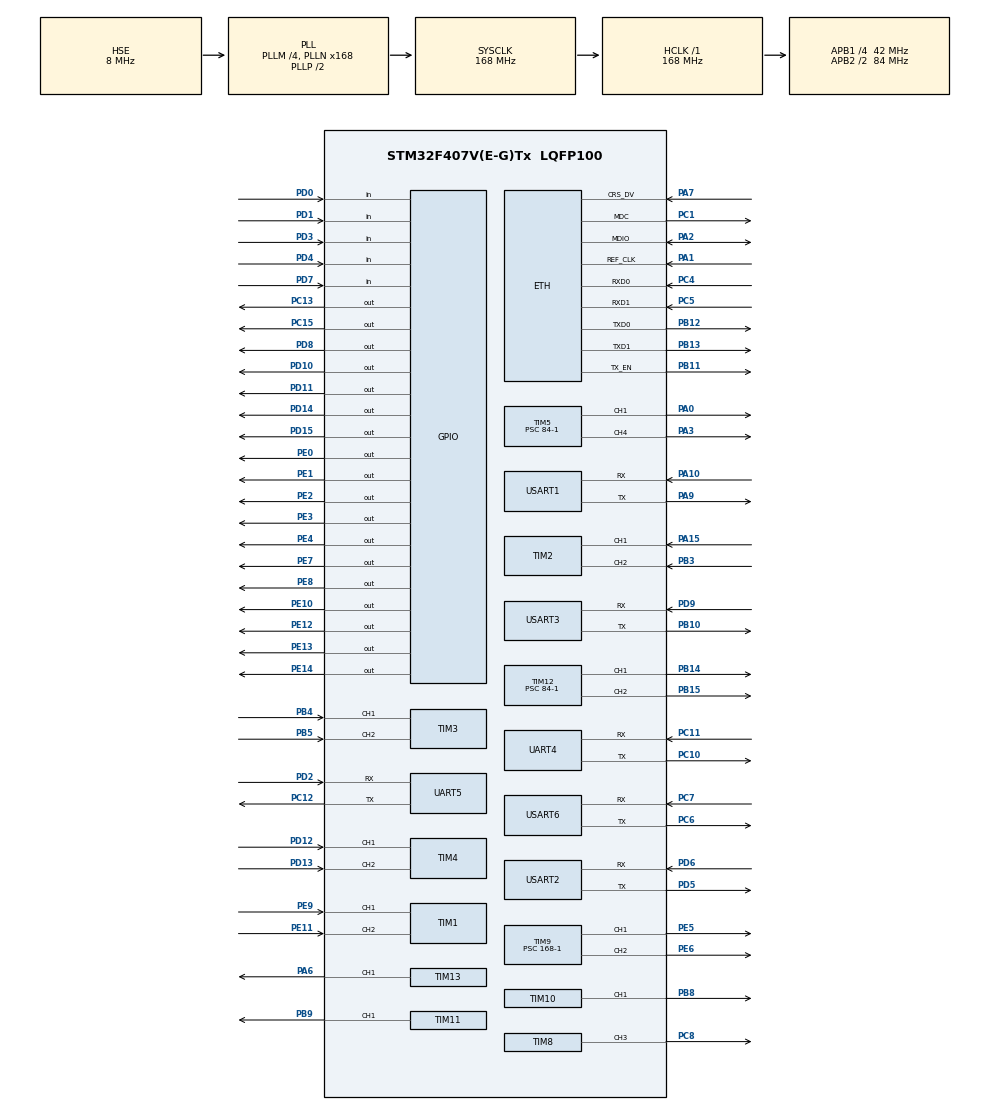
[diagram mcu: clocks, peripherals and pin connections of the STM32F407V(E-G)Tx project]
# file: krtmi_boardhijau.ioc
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Dma.Request0=UART4_RX
Dma.Request1=UART4_TX
Dma.Request10=USART1_RX
Dma.Request11=USART1_TX
Dma.Request2=UART5_RX
Dma.Request3=UART5_TX
Dma.Request4=USART2_RX
Dma.Request5=USART2_TX
Dma.Request6=USART3_RX
Dma.Request7=USART3_TX
Dma.Request8=USART6_RX
Dma.Request9=USART6_TX
Dma.UART4_RX.0.Direction=DMA_PERIPH_TO_MEMORY
Dma.UART4_RX.0.FIFOMode=DMA_FIFOMODE_DISABLE
Dma.UART4_RX.0.Instance=DMA1_Stream2
Dma.UART4_RX.0.MemDataAlignment=DMA_MDATAALIGN_BYTE
Dma.UART4_RX.0.MemInc=DMA_MINC_ENABLE
Dma.UART4_RX.0.Mode=DMA_NORMAL
Dma.UART4_RX.0.PeriphDataAlignment=DMA_PDATAALIGN_BYTE
Dma.UART4_RX.0.PeriphInc=DMA_PINC_DISABLE
Dma.UART4_RX.0.Priority=DMA_PRIORITY_LOW
Dma.UART4_TX.1.Direction=DMA_MEMORY_TO_PERIPH
Dma.UART4_TX.1.FIFOMode=DMA_FIFOMODE_DISABLE
Dma.UART4_TX.1.Instance=DMA1_Stream4
Dma.UART4_TX.1.MemDataAlignment=DMA_MDATAALIGN_BYTE
Dma.UART4_TX.1.MemInc=DMA_MINC_ENABLE
Dma.UART4_TX.1.Mode=DMA_NORMAL
Dma.UART4_TX.1.PeriphDataAlignment=DMA_PDATAALIGN_BYTE
Dma.UART4_TX.1.PeriphInc=DMA_PINC_DISABLE
Dma.UART4_TX.1.Priority=DMA_PRIORITY_LOW
Dma.UART5_RX.2.Direction=DMA_PERIPH_TO_MEMORY
Dma.UART5_RX.2.FIFOMode=DMA_FIFOMODE_DISABLE
Dma.UART5_RX.2.Instance=DMA1_Stream0
Dma.UART5_RX.2.MemDataAlignment=DMA_MDATAALIGN_BYTE
Dma.UART5_RX.2.MemInc=DMA_MINC_ENABLE
Dma.UART5_RX.2.Mode=DMA_NORMAL
Dma.UART5_RX.2.PeriphDataAlignment=DMA_PDATAALIGN_BYTE
Dma.UART5_RX.2.PeriphInc=DMA_PINC_DISABLE
Dma.UART5_RX.2.Priority=DMA_PRIORITY_HIGH
Dma.UART5_TX.3.Direction=DMA_MEMORY_TO_PERIPH
Dma.UART5_TX.3.FIFOMode=DMA_FIFOMODE_DISABLE
Dma.UART5_TX.3.Instance=DMA1_Stream7
Dma.UART5_TX.3.MemDataAlignment=DMA_MDATAALIGN_BYTE
Dma.UART5_TX.3.MemInc=DMA_MINC_ENABLE
Dma.UART5_TX.3.Mode=DMA_NORMAL
Dma.UART5_TX.3.PeriphDataAlignment=DMA_PDATAALIGN_BYTE
Dma.UART5_TX.3.PeriphInc=DMA_PINC_DISABLE
Dma.UART5_TX.3.Priority=DMA_PRIORITY_HIGH
Dma.USART1_RX.10.Direction=DMA_PERIPH_TO_MEMORY
Dma.USART1_RX.10.FIFOMode=DMA_FIFOMODE_DISABLE
Dma.USART1_RX.10.Instance=DMA2_Stream2
Dma.USART1_RX.10.MemDataAlignment=DMA_MDATAALIGN_BYTE
Dma.USART1_RX.10.MemInc=DMA_MINC_ENABLE
Dma.USART1_RX.10.Mode=DMA_NORMAL
Dma.USART1_RX.10.PeriphDataAlignment=DMA_PDATAALIGN_BYTE
Dma.USART1_RX.10.PeriphInc=DMA_PINC_DISABLE
Dma.USART1_RX.10.Priority=DMA_PRIORITY_LOW
Dma.USART1_TX.11.Direction=DMA_MEMORY_TO_PERIPH
Dma.USART1_TX.11.FIFOMode=DMA_FIFOMODE_DISABLE
Dma.USART1_TX.11.Instance=DMA2_Stream7
Dma.USART1_TX.11.MemDataAlignment=DMA_MDATAALIGN_BYTE
Dma.USART1_TX.11.MemInc=DMA_MINC_ENABLE
Dma.USART1_TX.11.Mode=DMA_NORMAL
Dma.USART1_TX.11.PeriphDataAlignment=DMA_PDATAALIGN_BYTE
Dma.USART1_TX.11.PeriphInc=DMA_PINC_DISABLE
Dma.USART1_TX.11.Priority=DMA_PRIORITY_LOW
Dma.USART2_RX.4.Direction=DMA_PERIPH_TO_MEMORY
Dma.USART2_RX.4.FIFOMode=DMA_FIFOMODE_DISABLE
Dma.USART2_RX.4.Instance=DMA1_Stream5
Dma.USART2_RX.4.MemDataAlignment=DMA_MDATAALIGN_BYTE
Dma.USART2_RX.4.MemInc=DMA_MINC_ENABLE
Dma.USART2_RX.4.Mode=DMA_NORMAL
Dma.USART2_RX.4.PeriphDataAlignment=DMA_PDATAALIGN_BYTE
Dma.USART2_RX.4.PeriphInc=DMA_PINC_DISABLE
Dma.USART2_RX.4.Priority=DMA_PRIORITY_HIGH
Dma.USART2_TX.5.Direction=DMA_MEMORY_TO_PERIPH
Dma.USART2_TX.5.FIFOMode=DMA_FIFOMODE_DISABLE
Dma.USART2_TX.5.Instance=DMA1_Stream6
Dma.USART2_TX.5.MemDataAlignment=DMA_MDATAALIGN_BYTE
Dma.USART2_TX.5.MemInc=DMA_MINC_ENABLE
Dma.USART2_TX.5.Mode=DMA_NORMAL
Dma.USART2_TX.5.PeriphDataAlignment=DMA_PDATAALIGN_BYTE
Dma.USART2_TX.5.PeriphInc=DMA_PINC_DISABLE
Dma.USART2_TX.5.Priority=DMA_PRIORITY_LOW
Dma.USART3_RX.6.Direction=DMA_PERIPH_TO_MEMORY
Dma.USART3_RX.6.FIFOMode=DMA_FIFOMODE_DISABLE
Dma.USART3_RX.6.Instance=DMA1_Stream1
Dma.USART3_RX.6.MemDataAlignment=DMA_MDATAALIGN_BYTE
Dma.USART3_RX.6.MemInc=DMA_MINC_ENABLE
Dma.USART3_RX.6.Mode=DMA_NORMAL
Dma.USART3_RX.6.PeriphDataAlignment=DMA_PDATAALIGN_BYTE
Dma.USART3_RX.6.PeriphInc=DMA_PINC_DISABLE
Dma.USART3_RX.6.Priority=DMA_PRIORITY_LOW
Dma.USART3_TX.7.Direction=DMA_MEMORY_TO_PERIPH
Dma.USART3_TX.7.FIFOMode=DMA_FIFOMODE_DISABLE
Dma.USART3_TX.7.Instance=DMA1_Stream3
Dma.USART3_TX.7.MemDataAlignment=DMA_MDATAALIGN_BYTE
Dma.USART3_TX.7.MemInc=DMA_MINC_ENABLE
Dma.USART3_TX.7.Mode=DMA_NORMAL
Dma.USART3_TX.7.PeriphDataAlignment=DMA_PDATAALIGN_BYTE
Dma.USART3_TX.7.PeriphInc=DMA_PINC_DISABLE
Dma.USART3_TX.7.Priority=DMA_PRIORITY_LOW
Dma.USART6_RX.8.Direction=DMA_PERIPH_TO_MEMORY
Dma.USART6_RX.8.FIFOMode=DMA_FIFOMODE_DISABLE
Dma.USART6_RX.8.Instance=DMA2_Stream1
Dma.USART6_RX.8.MemDataAlignment=DMA_MDATAALIGN_BYTE
Dma.USART6_RX.8.MemInc=DMA_MINC_ENABLE
Dma.USART6_RX.8.Mode=DMA_NORMAL
Dma.USART6_RX.8.PeriphDataAlignment=DMA_PDATAALIGN_BYTE
Dma.USART6_RX.8.PeriphInc=DMA_PINC_DISABLE
Dma.USART6_RX.8.Priority=DMA_PRIORITY_LOW
Dma.USART6_TX.9.Direction=DMA_MEMORY_TO_PERIPH
Dma.USART6_TX.9.FIFOMode=DMA_FIFOMODE_DISABLE
Dma.USART6_TX.9.Instance=DMA2_Stream6
Dma.USART6_TX.9.MemDataAlignment=DMA_MDATAALIGN_BYTE
Dma.USART6_TX.9.MemInc=DMA_MINC_ENABLE
Dma.USART6_TX.9.Mode=DMA_NORMAL
Dma.USART6_TX.9.PeriphDataAlignment=DMA_PDATAALIGN_BYTE
Dma.USART6_TX.9.PeriphInc=DMA_PINC_DISABLE
Dma.USART6_TX.9.Priority=DMA_PRIORITY_LOW
ETH.MACAddr=12\:34\:56\:12\:34\:56
ETH.MediaInterface=HAL_ETH_RMII_MODE
LWIP.BSP.number=1
LWIP.GATEWAY_ADDRESS=192.168.013.100
LWIP.IP_ADDRESS=192.168.013.111
LWIP.LWIP_DHCP=0
LWIP.MEM_SIZE=10*1024
LWIP.NETMASK_ADDRESS=255.255.255.000
LWIP.Version=v2.1.2_Cube
LWIP0.BSP.STBoard=false
LWIP0.BSP.api=BSP_COMPONENT_DRIVER
LWIP0.BSP.component=LAN8742
LWIP0.BSP.instance=LAN8742
LWIP0.BSP.name=Driver_PHY
LWIP0.BSP.semaphore=S_LAN8742
LWIP0.BSP.solution=LAN8742
Mcu.Family=STM32F4
Mcu.Name=STM32F407V(E-G)Tx
Mcu.Package=LQFP100
NVIC.DMA1_Stream0_IRQn=true\:0\:0\:false\:false\:true\:false\:true\:true
NVIC.DMA1_Stream1_IRQn=true\:0\:0\:false\:false\:true\:false\:true\:true
NVIC.DMA1_Stream2_IRQn=true\:0\:0\:false\:false\:true\:false\:true\:true
NVIC.DMA1_Stream3_IRQn=true\:0\:0\:false\:false\:true\:false\:true\:true
NVIC.DMA1_Stream4_IRQn=true\:0\:0\:false\:false\:true\:false\:true\:true
NVIC.DMA1_Stream5_IRQn=true\:0\:0\:false\:false\:true\:false\:true\:true
NVIC.DMA1_Stream6_IRQn=true\:0\:0\:false\:false\:true\:false\:true\:true
NVIC.DMA1_Stream7_IRQn=true\:0\:0\:false\:false\:true\:false\:true\:true
NVIC.DMA2_Stream1_IRQn=true\:0\:0\:false\:false\:true\:false\:true\:true
NVIC.DMA2_Stream2_IRQn=true\:0\:0\:false\:false\:true\:false\:true\:true
NVIC.DMA2_Stream6_IRQn=true\:0\:0\:false\:false\:true\:false\:true\:true
NVIC.DMA2_Stream7_IRQn=true\:0\:0\:false\:false\:true\:false\:true\:true
NVIC.PriorityGroup=NVIC_PRIORITYGROUP_4
NVIC.TIM6_DAC_IRQn=true\:0\:0\:false\:false\:true\:true\:true\:true
NVIC.UART4_IRQn=true\:0\:0\:false\:false\:true\:true\:true\:true
NVIC.UART5_IRQn=true\:0\:0\:false\:false\:true\:true\:true\:true
NVIC.USART1_IRQn=true\:0\:0\:false\:false\:true\:true\:true\:true
NVIC.USART2_IRQn=true\:0\:0\:false\:false\:true\:true\:true\:true
NVIC.USART3_IRQn=true\:0\:0\:false\:false\:true\:true\:true\:true
PA0-WKUP.Signal=S_TIM5_CH1
PA1.Mode=RMII
PA1.Signal=ETH_REF_CLK
PA10.Mode=Asynchronous
PA10.Signal=USART1_RX
PA13.Mode=Serial_Wire
PA13.Signal=SYS_JTMS-SWDIO
PA14.Mode=Serial_Wire
PA14.Signal=SYS_JTCK-SWCLK
PA15.Signal=S_TIM2_CH1_ETR
PA2.Mode=RMII
PA2.Signal=ETH_MDIO
PA3.Signal=S_TIM5_CH4
PA6.Signal=S_TIM13_CH1
PA7.Mode=RMII
PA7.Signal=ETH_CRS_DV
PA9.Mode=Asynchronous
PA9.Signal=USART1_TX
PB10.Mode=Asynchronous
PB10.Signal=USART3_TX
PB11.Mode=RMII
PB11.Signal=ETH_TX_EN
PB12.Mode=RMII
PB12.Signal=ETH_TXD0
PB13.Mode=RMII
PB13.Signal=ETH_TXD1
PB14.Signal=S_TIM12_CH1
PB15.Signal=S_TIM12_CH2
PB3.Signal=S_TIM2_CH2
PB4.Signal=S_TIM3_CH1
PB5.Signal=S_TIM3_CH2
PB8.Signal=S_TIM10_CH1
PB9.Signal=S_TIM11_CH1
PC1.Mode=RMII
PC1.Signal=ETH_MDC
PC10.Mode=Asynchronous
PC10.Signal=UART4_TX
PC11.Mode=Asynchronous
PC11.Signal=UART4_RX
PC12.Mode=Asynchronous
PC12.Signal=UART5_TX
PC13-ANTI_TAMP.Signal=GPIO_Output
PC15-OSC32_OUT.Signal=GPIO_Output
PC4.Mode=RMII
PC4.Signal=ETH_RXD0
PC5.Mode=RMII
PC5.Signal=ETH_RXD1
PC6.Mode=Asynchronous
PC6.Signal=USART6_TX
PC7.Mode=Asynchronous
PC7.Signal=USART6_RX
PC8.Signal=S_TIM8_CH3
PD0.GPIO_PuPd=GPIO_PULLUP
PD0.Signal=GPIO_Input
PD1.GPIO_PuPd=GPIO_PULLUP
PD1.Signal=GPIO_Input
PD10.Signal=GPIO_Output
PD11.Signal=GPIO_Output
PD12.Signal=S_TIM4_CH1
PD13.Signal=S_TIM4_CH2
PD14.Signal=GPIO_Output
PD15.Signal=GPIO_Output
PD2.Mode=Asynchronous
PD2.Signal=UART5_RX
PD3.GPIO_PuPd=GPIO_PULLUP
PD3.Signal=GPIO_Input
PD4.GPIO_PuPd=GPIO_PULLUP
PD4.Signal=GPIO_Input
PD5.Mode=Asynchronous
PD5.Signal=USART2_TX
PD6.Mode=Asynchronous
PD6.Signal=USART2_RX
PD7.GPIO_PuPd=GPIO_PULLUP
PD7.Signal=GPIO_Input
PD8.Signal=GPIO_Output
PD9.Mode=Asynchronous
PD9.Signal=USART3_RX
PE0.Signal=GPIO_Output
PE1.Signal=GPIO_Output
PE10.Signal=GPIO_Output
PE11.Signal=S_TIM1_CH2
PE12.Signal=GPIO_Output
PE13.Signal=GPIO_Output
PE14.Signal=GPIO_Output
PE2.Signal=GPIO_Output
PE3.Signal=GPIO_Output
PE4.Signal=GPIO_Output
PE5.Signal=S_TIM9_CH1
PE6.Signal=S_TIM9_CH2
PE7.Signal=GPIO_Output
PE8.Signal=GPIO_Output
PE9.Signal=S_TIM1_CH1
PH0-OSC_IN.Mode=HSE-External-Oscillator
PH0-OSC_IN.Signal=RCC_OSC_IN
PH1-OSC_OUT.Mode=HSE-External-Oscillator
PH1-OSC_OUT.Signal=RCC_OSC_OUT
ProjectManager.HeapSize=0x200
ProjectManager.StackSize=0x400
ProjectManager.TargetToolchain=STM32CubeIDE
RCC.48MHZClocksFreq_Value=84000000
RCC.AHBFreq_Value=168000000
RCC.APB1CLKDivider=RCC_HCLK_DIV4
RCC.APB1Freq_Value=42000000
RCC.APB1TimFreq_Value=84000000
RCC.APB2CLKDivider=RCC_HCLK_DIV2
RCC.APB2Freq_Value=84000000
RCC.APB2TimFreq_Value=168000000
RCC.CortexFreq_Value=168000000
RCC.HCLKFreq_Value=168000000
RCC.HSE_VALUE=8000000
RCC.HSI_VALUE=16000000
RCC.LSE_VALUE=32768
RCC.PLLM=4
RCC.PLLN=168
RCC.PLLSourceVirtual=RCC_PLLSOURCE_HSE
RCC.SYSCLKFreq_VALUE=168000000
RCC.SYSCLKSource=RCC_SYSCLKSOURCE_PLLCLK
RCC.VCOOutputFreq_Value=336000000
SH.S_TIM10_CH1.0=TIM10_CH1,PWM Generation1 CH1
SH.S_TIM11_CH1.0=TIM11_CH1,PWM Generation1 CH1
SH.S_TIM12_CH1.0=TIM12_CH1,PWM Generation1 CH1
SH.S_TIM12_CH2.0=TIM12_CH2,PWM Generation2 CH2
SH.S_TIM13_CH1.0=TIM13_CH1,PWM Generation1 CH1
SH.S_TIM1_CH1.0=TIM1_CH1,Encoder_Interface
SH.S_TIM1_CH2.0=TIM1_CH2,Encoder_Interface
SH.S_TIM2_CH1_ETR.0=TIM2_CH1,Encoder_Interface
SH.S_TIM2_CH2.0=TIM2_CH2,Encoder_Interface
SH.S_TIM3_CH1.0=TIM3_CH1,Encoder_Interface
SH.S_TIM3_CH2.0=TIM3_CH2,Encoder_Interface
SH.S_TIM4_CH1.0=TIM4_CH1,Encoder_Interface
SH.S_TIM4_CH2.0=TIM4_CH2,Encoder_Interface
SH.S_TIM5_CH1.0=TIM5_CH1,PWM Generation1 CH1
SH.S_TIM5_CH4.0=TIM5_CH4,PWM Generation4 CH4
SH.S_TIM8_CH3.0=TIM8_CH3,PWM Generation3 CH3
SH.S_TIM9_CH1.0=TIM9_CH1,PWM Generation1 CH1
SH.S_TIM9_CH2.0=TIM9_CH2,PWM Generation2 CH2
TIM10.Channel=TIM_CHANNEL_1
TIM10.Period=1000-1
TIM10.Prescaler=168-1
TIM11.Channel=TIM_CHANNEL_1
TIM11.Period=1000-1
TIM11.Prescaler=168-1
TIM12.Channel-PWM\ Generation1\ CH1=TIM_CHANNEL_1
TIM12.Channel-PWM\ Generation2\ CH2=TIM_CHANNEL_2
TIM12.Period=1000-1
TIM12.Prescaler=84-1
TIM13.Channel=TIM_CHANNEL_1
TIM13.Period=1000-1
TIM13.Prescaler=84-1
TIM5.Channel-PWM\ Generation1\ CH1=TIM_CHANNEL_1
TIM5.Channel-PWM\ Generation4\ CH4=TIM_CHANNEL_4
TIM5.Period=1000-1
TIM5.Prescaler=84-1
TIM6.Period=1000 - 1
TIM6.Prescaler=84-1
TIM8.Channel-PWM\ Generation3\ CH3=TIM_CHANNEL_3
TIM8.Period=1000-1
TIM8.Prescaler=168-1
TIM9.Channel-PWM\ Generation1\ CH1=TIM_CHANNEL_1
TIM9.Channel-PWM\ Generation2\ CH2=TIM_CHANNEL_2
TIM9.Period=1000-1
TIM9.Prescaler=168-1
UART4.VirtualMode=Asynchronous
UART5.VirtualMode=Asynchronous
USART1.VirtualMode=VM_ASYNC
USART2.VirtualMode=VM_ASYNC
USART3.VirtualMode=VM_ASYNC
USART6.VirtualMode=VM_ASYNC
VP_LWIP_VS_Enabled.Mode=Enabled
VP_TIM10_VS_ClockSourceINT.Mode=Enable_Timer
VP_TIM11_VS_ClockSourceINT.Mode=Enable_Timer
VP_TIM13_VS_ClockSourceINT.Mode=Enable_Timer
VP_TIM6_VS_ClockSourceINT.Mode=Enable_Timer
board=custom

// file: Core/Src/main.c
/* USER CODE BEGIN Header */
/**
  ******************************************************************************
  * @file           : main.c
  * @brief          : Main program body
  ******************************************************************************
  * @attention
  *
  * Copyright (c) 2024 STMicroelectronics.
  * All rights reserved.
  *
  * This software is licensed under terms that can be found in the LICENSE file
  * in the root directory of this software component.
  * If no LICENSE file comes with this software, it is provided AS-IS.
  *
  ******************************************************************************
  */
/* USER CODE END Header */
#include "main.h"
#include "dma.h"
#include "lwip.h"
#include "tim.h"
#include "usart.h"
#include "gpio.h"

/* USER CODE BEGIN Includes */
#include "udpClientRAW.h"
#include "controller.h"
#include "motor.h"
#include "pid.h"
#include "MotionProfile.h"
/* USER CODE END Includes */

void SystemClock_Config(void);

/* USER CODE BEGIN 0 */
#define MAX_ROTATION_PULSE 835
#define MAX_HORIZONTAL_PULSE 1955
#define MAX_VERTICAL_PULSE 2200
#define SEARCH_HORIZONTAL_PULSE 800

#define ENC_X_TO_CM 0.024691
#define ENC_Y_TO_CM 0.024907

#define WALL_THRESHOLD 20
#define WALL_DISTANCE_SETPOINT 10

uint8_t udp_cnt = 0;
uint8_t rst_state = 0;
int16_t rst_cnt = 0;

Motor_t motorA;
Motor_t motorB;
Motor_t motorC;

Encoder_t encA;
Encoder_t encB;
Encoder_t encC;
Encoder_t encX;
Encoder_t encY;

PID_t PID_A;
PID_t PID_B;
PID_t PID_C;
PID_t PID_x_enc;
PID_t PID_y_enc;
PID_t PID_w_mpu;
PID_t PID_x_ultra;
PID_t PID_y_cam;

PID_t PID_rot_enc;
PID_t PID_hor_enc;
PID_t PID_ver_enc;
PID_t PID_rot_cam;
PID_t PID_hor_cam;
PID_t PID_rot_box;

float kp_base = 45;
float ki_base = 2.5;
float kd_base = 0;

int16_t box_setpoint = 0;
int16_t box_feedback = 0;
int16_t vx = 0;
int16_t vy = 0;
int16_t vw = 0;
float global_x = 0;
float global_y = 0;
float yaw_degree = 0;
float yaw_flip   = 0;
float yaw_adjust = 0;
float yaw_radian = 0;
float base_pos_x = 0;
float base_pos_y = 0;
float base_pos_w = 0;
float set_x = 0;
float set_y = 0;
float set_w = 0;
uint8_t ultra_lost[3] = {0};
float ultra_avg_distance = 0;

MotionProfile x_profile;
MotionProfile y_profile;
MotionProfile w_profile;
MotionProfile rot_profile;
MotionProfile hor_profile;
MotionProfile ver_profile;

char UART1_RX_BUFFER[53]; //--- VGT ARM
char UART2_RX_BUFFER[9];
char UART3_RX_BUFFER[43];
char UART4_RX_BUFFER[53];
char UART5_RX_BUFFER[7];  //--- odom enc
char UART6_RX_BUFFER[7];  //--- NANO YAW

char UART1_TX_BUFFER[53] = "ABC";
char UART2_TX_BUFFER[9] = "ABC"; //--- RGB LED

//---- ARM
uint8_t arm_ready = 0;
uint8_t robot_start = 0;
uint8_t relay_state = 0;
int16_t set_speed_rot = 0;
int16_t set_speed_hor = 0;
int16_t set_speed_ver = 0;
int16_t set_position_rot = 0;
int16_t set_position_hor = 0;
int16_t set_position_ver = 0;
int16_t total_rot_enc = 0;
int16_t total_hor_enc = 0;
int16_t total_ver_enc = 0;
uint8_t arm_scanning_mode = 0;
uint8_t manual_arm = 0;
float 	set_rot = 0;
float 	set_hor = 0;
float 	set_ver = 0;
uint8_t cam_detected = 0;

//--- LED
typedef struct
{
	uint8_t state;
	uint8_t R, G, B;
	uint8_t brightness;
	uint8_t freq_ms;
} LED_t ;

LED_t RGB_LED;
uint8_t rgb_state = 0;

uint8_t arm_arm_state = 0;

void Robot_Init()
{
	Motor_Init(	&motorA,
				GPIOC, GPIO_PIN_15,
				GPIOC, GPIO_PIN_13,
				&htim11, TIM_CHANNEL_1, REVERSE_TRUE);

	Motor_Init(	&motorB,
				GPIOE, GPIO_PIN_3,
				GPIOE, GPIO_PIN_0,
				&htim10, TIM_CHANNEL_1, REVERSE_FALSE);

	Motor_Init(	&motorC,
				GPIOD, GPIO_PIN_10,
				GPIOD, GPIO_PIN_8,
				&htim12, TIM_CHANNEL_1, REVERSE_TRUE);

	Encoder_Init(&encA, &htim3, REVERSE_FALSE);
	Encoder_Init(&encB, &htim4, REVERSE_TRUE);
	Encoder_Init(&encC, &htim2, REVERSE_FALSE);

	PID_Init(&PID_rot_enc,  0.1, 0, 0,  3,  3, 25);
	PID_Init(&PID_hor_enc,  0.1, 0, 0, 10, 10, 25);
	PID_Init(&PID_ver_enc,  0.1, 0, 0, 60, 60, 50);
	PID_Init(&PID_rot_cam, 0.04, 0, 0,  1,  1, 25);
	PID_Init(&PID_hor_cam, 0.05, 0, 0,  5,  5, 25);
	PID_Init(&PID_rot_box, 0.02, 0, 0,  1,  1, 50);

    PID_Init(&PID_A, kp_base, ki_base, kd_base, 999, 999, 0);
    PID_Init(&PID_B, kp_base, ki_base, kd_base, 999, 999, 0);
    PID_Init(&PID_C, kp_base, ki_base, kd_base, 999, 999, 0);
    PID_Init(&PID_x_enc, 0.17, 0, 0, 20, 20, 5);
    PID_Init(&PID_y_enc, 0.17, 0, 0, 20, 20, 5);
    PID_Init(&PID_w_mpu, 0.45, 0, 8, 5, 5, 1);
    PID_Init(&PID_x_ultra, 0.5, 0, 0, 5, 5, 5);
    PID_Init(&PID_y_cam, 0.1, 0, 0, 5, 5, 1);

    MotionProfile_init(&x_profile, 65.0f, 50.0f, 50.0f, 5.0f);
    MotionProfile_init(&y_profile, 65.0f, 50.0f, 50.0f, 5.0f);
    MotionProfile_init(&w_profile, 40.0f, 5.0f, 5.0f, 5.0f);

    MotionProfile_init(&w_profile, 100.0f, 85.0f, 85.0f, 1.0f);
    MotionProfile_init(&rot_profile, 1000, 900, 900, 5);
    MotionProfile_init(&hor_profile, 3500, 3400, 3400, 5);
    MotionProfile_init(&ver_profile, 3500, 3400, 3400, 5);

    HAL_UART_Receive_DMA(&huart1, (uint8_t*)UART1_RX_BUFFER, sizeof(UART1_RX_BUFFER));
//    HAL_UART_Receive_DMA(&huart2, (uint8_t*)UART2_RX_BUFFER, sizeof(UART2_RX_BUFFER));
    HAL_UART_Receive_DMA(&huart3, (uint8_t*)UART3_RX_BUFFER, sizeof(UART3_RX_BUFFER));
    HAL_UART_Receive_DMA(&huart4, (uint8_t*)UART4_RX_BUFFER, sizeof(UART4_RX_BUFFER));
    HAL_UART_Receive_DMA(&huart5, (uint8_t*)UART5_RX_BUFFER, sizeof(UART5_RX_BUFFER));
    HAL_UART_Receive_DMA(&huart6, (uint8_t*)UART6_RX_BUFFER, sizeof(UART6_RX_BUFFER));

	udpClient_connect();

	HAL_TIM_Base_Start_IT(&htim6);
}

void Set_LED(LED_t *led, uint8_t state, uint8_t R, uint8_t G, uint8_t B, uint8_t brightness, uint8_t freq_ms)
{
	led -> state = state;
	led -> R = R;
	led -> G = G;
	led -> B = B;
	led -> brightness = brightness;
	led -> freq_ms = freq_ms;
}

void RGB_LED_Stop()
{
	static uint8_t state = 0;
	static uint16_t cnt_ms = 0;

	switch(state)
	{
		case 0:
			Set_LED(&RGB_LED, 1, 255, 0, 0, 10, 1);
			state++;
			break;
		case 1:
			if(cnt_ms >= 100)
			{
				state++;
				cnt_ms = 0;
			}
			else
			{
				cnt_ms++;
			}
			break;
		case 2:
			Set_LED(&RGB_LED, 1, 255, 0, 0, 0, 1);
			state++;
			break;
		case 3:
			if(cnt_ms >= 100)
			{
				state++;
				cnt_ms = 0;
			}
			else
			{
				cnt_ms++;
			}
			break;
		case 4:
			Set_LED(&RGB_LED, 1, 255, 0, 0, 10, 1);
			state++;
			break;
		case 5:
			if(cnt_ms >= 100)
			{
				state++;
				cnt_ms = 0;
			}
			else
			{
				cnt_ms++;
			}
			break;
		case 6:
			Set_LED(&RGB_LED, 1, 255, 0, 0, 0, 1);
			state++;
			break;
		case 7:
			if(cnt_ms >= 100)
			{
				state++;
				cnt_ms = 0;
			}
			else
			{
				cnt_ms++;
			}
			break;
		case 8:
			Set_LED(&RGB_LED, 1, 255, 0, 0, 10, 1);
			state++;
			break;
		case 9:
			if(cnt_ms >= 4000)
			{
				state = 0;
				cnt_ms = 0;
			}
			else
			{
				cnt_ms++;
			}
			break;
	}
}

void RGB_LED_Process(uint8_t state)
{
	switch(state)
	{
		case 0: // --- stop
			RGB_LED_Stop();
			break;
		case 1: //--- go
			Set_LED(&RGB_LED, 1, 0, 255, 0, 10, 1);
			break;
		case 2: //--- search
			Set_LED(&RGB_LED, 2, 0, 0, 0, 10, 1);
			break;
		case 3: //--- Daun
			Set_LED(&RGB_LED, 1, 199, 252, 0, 10, 1);
			break;
		case 4: //--- Ferro
			Set_LED(&RGB_LED, 1, 254, 0, 86, 10, 1);
			break;
		case 5: //--- Kertas
			Set_LED(&RGB_LED, 1, 0, 255, 206, 10, 1);
			break;
		case 6: //--- Non-Ferro
			Set_LED(&RGB_LED, 1, 255, 128, 0, 10, 1);
			break;
		case 7: //--- Plastik
			Set_LED(&RGB_LED, 1, 134, 34, 255, 10, 1);
			break;
		case 8: //--- Manual
			Set_LED(&RGB_LED, 1, 0, 0, 255, 10, 1);
			break;
	}

	memcpy(UART2_TX_BUFFER + 3, &RGB_LED, sizeof(RGB_LED));

	HAL_UART_Transmit_DMA(&huart2, (uint8_t*)UART2_TX_BUFFER, sizeof(UART2_TX_BUFFER));
}

float flip_yaw(float original_yaw)
{
   return 360.0f - fmodf(original_yaw, 360.0f);
}

void Yaw_Process()
{
	static uint8_t offset_once = 0;

	yaw_flip = flip_yaw(udp_tx.yaw_degree);

	if(yaw_flip > 180.001)
	{
		yaw_flip -= 360.001;
	}
	else if(yaw_flip < -180.001)
	{
        yaw_flip += 360.001;
	}

	if(!offset_once)
	{
		yaw_adjust = yaw_flip;
		offset_once++;
	}

	yaw_degree = yaw_flip - yaw_adjust;

	yaw_radian = yaw_degree * M_PI/180.0;
}

void Odometry_Process()
{
	static uint8_t odom_cnt_ms = 0;

	if(odom_cnt_ms >= 9)
	{

		global_x += (udp_tx.enc_x * cos(yaw_radian) - udp_tx.enc_y * sin(yaw_radian)) * ENC_X_TO_CM;
		global_y += (udp_tx.enc_x * sin(yaw_radian) + udp_tx.enc_y * cos(yaw_radian)) * ENC_Y_TO_CM;
		odom_cnt_ms = 0;
	}
	else
	{
		odom_cnt_ms++;
	}
}

void Main_Arm_Algorithm()
{
	if(!robot_start)
	{
		return;
	}

	static uint8_t arm_state = 0;
	static int16_t arm_cnt_ms = 0;
	static uint8_t trash_type = 0;

	arm_arm_state = arm_state;

	switch(arm_state)
	{
		case 0: //--- Arm up

			rgb_state = 1;
			manual_arm = 0;
			arm_scanning_mode = 0; //-- enc mode
			relay_state = 0;

			MotionProfile_set_target(&ver_profile, MAX_VERTICAL_PULSE);
			MotionProfile_update(&ver_profile, 0.001);
			set_ver = MotionProfile_get_position(&ver_profile);
			set_position_ver = (int16_t)set_ver;
			if(MotionProfile_finished(&ver_profile))
			{
				arm_state = 11;
			}

//			set_position_ver = MAX_VERTICAL_PULSE - 100;
//			arm_state = 111;
			break;

//		case 111:
//            if(arm_cnt_ms >= 2400)
//            {
//            	arm_state = 11;
//                arm_cnt_ms = 0;
//            }
//            else
//            {
//                arm_cnt_ms++;
//            }
//            break;

		case 1: //--- Arm hold rotate (at 0 position)

			rgb_state = 1;
			MotionProfile_set_target(&rot_profile, 0);
			MotionProfile_update(&rot_profile, 0.001);
			set_rot = MotionProfile_get_position(&rot_profile);
			set_position_rot = (int16_t)set_rot;
			if(MotionProfile_finished(&rot_profile))
			{
				arm_state++;
			}
			break;

		case 2: //--- Arm search position

			rgb_state = 1;
			MotionProfile_set_target(&hor_profile, SEARCH_HORIZONTAL_PULSE);
			MotionProfile_update(&hor_profile, 0.001);
			set_hor = MotionProfile_get_position(&hor_profile);
			set_position_hor = (int16_t)set_hor;
			if(MotionProfile_finished(&hor_profile))
			{
				arm_state++;
			}
			break;

		case 3: //--- wait for input (auto or manual)

			if(udp_tx.option) //--- manual mode
			{
				manual_arm = 1;
				arm_state = 99;
			}

//			if(udp_tx.down) //--- auto mode
//			if(udp_tx.buttons[1] == 0)
			if(udp_rx.trashDetected && abs(udp_rx.closestTrashX) <= 200 && !(ultra_lost[0] || ultra_lost[1] || ultra_lost[2]))
			{
				PID_Reset(&PID_rot_enc);
				PID_Reset(&PID_hor_enc);
				arm_scanning_mode = 1; //--- cam mode
				arm_state++;
				cam_detected = 1;
			}
			break;

		case 4: //--- Search Trash Auto
			rgb_state = 2;

			if(udp_tx.up)
			{
				PID_Reset(&PID_rot_cam);
				PID_Reset(&PID_hor_cam);
				arm_state = 0;
			}

			if(udp_rx.trashDetected)
			{
				cam_detected = 1;
				set_position_rot = 35;
				set_position_hor = 30;

                if(abs(PID_rot_cam.error) <= PID_rot_cam.tolerance && abs(PID_hor_cam.error) <= PID_hor_cam.tolerance)
                {
                    if(arm_cnt_ms >= 249)
                    {
                    	trash_type = udp_rx.trashType;
        				PID_Reset(&PID_rot_cam);
        				PID_Reset(&PID_hor_cam);
                        arm_scanning_mode = 0; //--- enc mode
                        arm_state++;
                        arm_cnt_ms = 0;
                    }
                    else
                    {
                        arm_cnt_ms++;
                    }
                }

			}
			else //--- stops arm movement if trash not detected
			{
				set_position_rot = PID_rot_cam.feedback;
				set_position_hor = PID_hor_cam.feedback;
				cam_detected = 0;
			}
			break;

		case 5: //--- go down while keeping rotation and horizontal position
			rgb_state = trash_type + 2; //--- offset of 2
			cam_detected = 1; //--- make sure to stop

			if(udp_tx.up)
			{
				PID_Reset(&PID_rot_cam);
				PID_Reset(&PID_hor_cam);
				arm_state = 0;
			}
			set_position_rot = PID_rot_enc.feedback;
			set_position_hor = PID_hor_enc.feedback;

			if(PID_ver_enc.feedback < 250)
			{
				relay_state = 1;
			}

			MotionProfile_set_target(&ver_profile, 0);
			MotionProfile_update(&ver_profile, 0.001);
			set_ver = MotionProfile_get_position(&ver_profile);
			set_position_ver = (int16_t)set_ver;

			if(MotionProfile_finished(&ver_profile))
			{
				arm_state++;
			}
			break;

		case 6: //--- go up, pick up trash

			rgb_state = trash_type + 2; //--- offset of 2

			MotionProfile_set_target(&ver_profile, MAX_VERTICAL_PULSE);
			MotionProfile_update(&ver_profile, 0.001);
			set_ver = MotionProfile_get_position(&ver_profile);
			set_position_ver = (int16_t)set_ver;
			if(MotionProfile_finished(&ver_profile))
			{
				arm_state++;
			}
			break;

		case 7: //--- extend MAX forward, ready for trash bin

			rgb_state = trash_type + 2; //--- offset of 2

			MotionProfile_set_target(&rot_profile, 0);
			MotionProfile_update(&rot_profile, 0.001);
			set_rot = MotionProfile_get_position(&rot_profile);
			set_position_rot = (int16_t)set_rot;

			if(MotionProfile_finished(&rot_profile))
			{
				arm_state++;
			}
			break;

		case 8:
			cam_detected = 0; //--- move again

			rgb_state = trash_type + 2; //--- offset of 2

			MotionProfile_set_target(&hor_profile, MAX_HORIZONTAL_PULSE);
			MotionProfile_update(&hor_profile, 0.001);
			set_hor = MotionProfile_get_position(&hor_profile);
			set_position_hor = (int16_t)set_hor;

			if(MotionProfile_finished(&hor_profile))
			{
				arm_state++;
			}
			break;

		case 9: //--- wait for input to go down, or go back to beginning state

			rgb_state = trash_type + 2; //--- offset of 2

//			if(udp_tx.down)
//			if(udp_tx.buttons[1] == 0)
			if(udp_rx.boxDetected && abs(udp_rx.cameraX - udp_rx.closestBoxX) <= 55)
			{
				cam_detected = 1;
				arm_scanning_mode = 2; //--- box mode
				PID_Reset(&PID_rot_enc);
				arm_state++;
			}

			if(udp_tx.up)
			{
				arm_state = 0;
			}
			break;

		case 10:
			rgb_state = trash_type + 2; //--- offset of 2

			if(udp_rx.boxDetected)
			{
				cam_detected = 1;
				set_position_rot = 45;

	            if(abs(PID_rot_box.error) <= PID_rot_box.tolerance)
	            {
	                if(arm_cnt_ms >= 249)
	                {
	    				PID_Reset(&PID_rot_box);
	                    arm_scanning_mode = 0;
	                    arm_state++;
	                    arm_cnt_ms = 0;
	                }
	                else
	                {
	                    arm_cnt_ms++;
	                }
	            }
			}
			else
			{
				cam_detected = 0;
				set_position_rot = PID_rot_box.feedback;
			}

			break;

		case 11: //--- go down and let go of trash

			set_position_rot = PID_rot_enc.feedback;

			rgb_state = trash_type + 2; //--- offset of 2

			relay_state = 0;

			MotionProfile_set_target(&ver_profile, 0);
			MotionProfile_update(&ver_profile, 0.001);
			set_ver = MotionProfile_get_position(&ver_profile);
			set_position_ver = (int16_t)set_ver;

			if(MotionProfile_finished(&ver_profile))
			{
                if(arm_cnt_ms >= 249) //2499
                {
                	cam_detected = 0;
                    arm_state = 0;
                    arm_cnt_ms = 0;
                }
                else
                {
                    arm_cnt_ms++;
                }
			}

//			set_position_ver = 200;
//			if(arm_cnt_ms >= 2499) //2499
//			{
////				cam_detected = 0;
//				arm_state = 0;
//				arm_cnt_ms = 0;
//			}
//			else
//			{
//				arm_cnt_ms++;
//			}

			break;

		case 21: //--- ignore this, this is just a test, nigga
			MotionProfile_set_target(&ver_profile, 0);
			MotionProfile_update(&ver_profile, 0.001);
			set_ver = MotionProfile_get_position(&ver_profile);
			set_position_ver = (int16_t)set_ver;
			if(MotionProfile_finished(&ver_profile))
			{
				arm_state = 0;
			}
			break;

		case 99: //--- MANUAL MODE, MOTHERFUCKER
		{
			rgb_state = 8;

            static float rot_scaled = 0;
            static float hor_scaled = 0;
            static uint8_t grab_state = 0;
            static uint8_t SUCK_state = 0;
            static uint8_t SUCK_TIME = 0;

            //---- control the GAWK GAWK 3000 SUCK PUMP
            switch (SUCK_state)
			{
				case 0:
					if(udp_tx.r1)
					{
						SUCK_state++;
					}
					break;
				case 1:
					relay_state = 1;

					if(SUCK_TIME >= 250)
					{
						SUCK_state++;
						SUCK_TIME = 0;
					}
					else
					{
						SUCK_TIME++;
					}
					break;
				case 2:
					if(udp_tx.r1)
					{
						SUCK_state++;
					}
					break;
				case 3:
					relay_state = 0;
					if(SUCK_TIME >= 250)
					{
						SUCK_state = 0;
						SUCK_TIME = 0;
					}
					else
					{
						SUCK_TIME++;
					}
					break;
			}

            //--- Control the forward and rotation movement of arm
            if(udp_tx.left && rot_scaled < 300)
            {
                rot_scaled += 0.2;
            }
            else if(udp_tx.right && rot_scaled > -300)
            {
                rot_scaled -= 0.2;
            }

            if(udp_tx.up && hor_scaled < MAX_HORIZONTAL_PULSE)
            {
                hor_scaled += 1;
            }
            else if(udp_tx.down && hor_scaled > 10)
            {
                hor_scaled -= 1;
            }

            set_position_rot = rot_scaled;
            set_position_hor = hor_scaled;

            //-- Control UP and DOWN movement of your MUM
            switch(grab_state)
            {
				case 0:
					if(udp_tx.l1)
					{
						grab_state++;
					}
					break;

				case 1:
					MotionProfile_set_target(&ver_profile, 0);
					MotionProfile_update(&ver_profile, 0.001);
					set_ver = MotionProfile_get_position(&ver_profile);
					set_position_ver = (int16_t)set_ver;

					if(MotionProfile_finished(&ver_profile))
					{
		                if(arm_cnt_ms >= 249)
		                {
		                    grab_state++;
		                    arm_cnt_ms = 0;
		                }
		                else
		                {
		                    arm_cnt_ms++;
		                }
					}
					break;

				case 2:
					if(udp_tx.l1)
					{
						grab_state++;
					}
					break;

				case 3:
					MotionProfile_set_target(&ver_profile, MAX_VERTICAL_PULSE);
					MotionProfile_update(&ver_profile, 0.001);
					set_ver = MotionProfile_get_position(&ver_profile);
					set_position_ver = (int16_t)set_ver;

					if(MotionProfile_finished(&ver_profile))
					{
		                if(arm_cnt_ms >= 249)
		                {
		                    grab_state = 0;
		                    arm_cnt_ms = 0;
		                }
		                else
		                {
		                    arm_cnt_ms++;
		                }
					}
					break;
            }

            //--- GO BACK TO AUTO MODE
            if(udp_tx.share)
            {
                manual_arm = 0;
                rot_scaled = 0;
                hor_scaled = 0;
                grab_state = 0;
                SUCK_state = 0;

                PID_Reset(&PID_ver_enc);
                PID_Reset(&PID_rot_enc);
                PID_Reset(&PID_hor_enc);

                arm_state = 0;
            }

			break;
		}

	}

}

float get_weighted_distance()
{
    float weighted_sum = 0;
    float total_weight = 0;

    if(!ultra_lost[0]) // RIGHT
    {
        weighted_sum += udp_tx.ultrasonic[0] * 1.0f;
        total_weight += 1.0f;
    }

    if(!ultra_lost[1]) // CENTER
    {
        weighted_sum += udp_tx.ultrasonic[1] * 2.0f;
        total_weight += 2.0f;
    }

    if(!ultra_lost[2]) // LEFT
    {
        weighted_sum += udp_tx.ultrasonic[2] * 1.0f;
        total_weight += 1.0f;
    }

    if(total_weight > 0)
    {
        return weighted_sum / total_weight;
    }

    return WALL_DISTANCE_SETPOINT; // Fallback
}

void Main_Base_Algorithm()
{
	if(!robot_start)
	{
		yaw_adjust = yaw_flip;
		global_x = 0;
		global_y = 0;
		ultra_avg_distance = 0;
		Encoder_ResetCount(&encA);
		Encoder_ResetCount(&encB);
		Encoder_ResetCount(&encC);
		box_feedback = 0;
		return;
	}

	vx = vy = vw = 0;

//	static uint8_t base_state = 0;
//	static uint16_t base_cnt_ms = 0;
//
//	vy = -Controller_Drift(udp_tx.lX, 12);
//	vx = Controller_Drift(udp_tx.lY, 12);
//	int16_t rx = -Controller_Drift(udp_tx.rX, 12);
//
//	vx = map(vx, -128, 127, -10, 10);
//	vy = map(vy, -128, 127, -10, 10);
//	rx = map(rx, -128, 127, -3, 3);
//
//	vw = rx;

//	set_w += (float) rx * 0.3; //--- ini scale nya
//
//    set_w = fmodf(set_w, 360.0f);
//    if (set_w > 180.0f)
//    {
//    	set_w -= 360.0f;
//    }
//    else if (set_w < -180.0f)
//    {
//    	set_w += 360.0f;
//    }

//---- AUTO

//	ultra_lost[0] = ( udp_tx.ultrasonic[0] > WALL_THRESHOLD ); //-- RIGHT
//	ultra_lost[1] = ( udp_tx.ultrasonic[1] > WALL_THRESHOLD ); //-- CENTER
//	ultra_lost[2] = ( udp_tx.ultrasonic[2] > WALL_THRESHOLD ); //-- LEFT
//	ultra_avg_distance = get_weighted_distance();
//
//	if(cam_detected)
//	{
//		set_x = WALL_DISTANCE_SETPOINT;
//		set_y = 0;
//		set_w = 0;
//
//		vy = 0; //--- STOP
//
////		if(base_state == 0)
////		{
////			base_state = 1;
////		}
////		else
////		{
////			base_state = 0;
////		}
//	}
//
//	else
//	{
//		switch(base_state)
//		{
//			case 0:
//				set_x = WALL_DISTANCE_SETPOINT;
//				set_y = 0;
//				set_w = 0;
//
//				vy = -4; //--- go right
//
//				if(ultra_lost[0])
//				{
//					base_state++;
//				}
//				break;
//
//			case 1:
//				set_x = WALL_DISTANCE_SETPOINT;
//				set_y = 0;
//				set_w = 3;
//
//				vy = 4; //--- go left
//
//				if(ultra_lost[2])
//				{
//					base_state = 0;
//				}
//				break;
//		}
//	}

//	MotionProfile_set_target(&w_profile, set_w);
//	MotionProfile_update(&w_profile, 0.001);
//	base_pos_w = MotionProfile_get_position(&w_profile);
//
//	MotionProfile_set_target(&y_profile, set_y);
//	MotionProfile_update(&y_profile, 0.001);
//	base_pos_y = MotionProfile_get_position(&y_profile);
//
//	MotionProfile_set_target(&x_profile, set_x);
//	MotionProfile_update(&x_profile, 0.001);
//	base_pos_x = MotionProfile_get_position(&x_profile);
}

void PID_Arm_Position()
{
	static uint16_t timer = 0;

	if(timer >= 9)
	{
		total_rot_enc += udp_tx.enc_1;
        total_hor_enc += udp_tx.enc_2;
        total_ver_enc += udp_tx.enc_3;

        switch(arm_scanning_mode)
        {
			case 0: //--- enc mode full

				PID_Update(&PID_rot_enc, set_position_rot, total_rot_enc);

				set_speed_rot = (int16_t)PID_rot_enc.output;

				if(abs(PID_rot_enc.error) < PID_rot_enc.tolerance)
				{
					set_speed_rot = 0;
				}
		        if(total_rot_enc < -300 && PID_rot_enc.output <= 0)
		        {
		        	set_speed_rot = 0;
		        }
		        if(total_rot_enc > 300 && PID_rot_enc.output >= 0)
		        {
		        	set_speed_rot = 0;
		        }

				PID_Update(&PID_hor_enc, set_position_hor, total_hor_enc);

				set_speed_hor = (int16_t)PID_hor_enc.output;

				if(abs(PID_hor_enc.error) < PID_hor_enc.tolerance)
				{
					set_speed_hor = 0;
				}
		        if(total_hor_enc < 10 && PID_hor_enc.output <= 0)
		        {
		        	set_speed_hor = 0;
		        }
		        if(total_hor_enc > MAX_HORIZONTAL_PULSE && PID_hor_enc.output >= 0)
		        {
		        	set_speed_hor = 0;
		        }
				break;

			case 1: //--- cam mode full

				PID_Update(&PID_rot_cam, set_position_rot, udp_rx.closestTrashX);

				set_speed_rot = (int16_t)PID_rot_cam.output;

				if(abs(PID_rot_cam.error) < PID_rot_cam.tolerance)
				{
					set_speed_rot = 0;
				}
		        if(total_rot_enc < -300 && PID_rot_cam.output <= 0)
		        {
		        	set_speed_rot = 0;
		        }
		        if(total_rot_enc > 300 && PID_rot_cam.output >= 0)
		        {
		        	set_speed_rot = 0;
		        }

				PID_Update(&PID_hor_cam, set_position_hor, udp_rx.closestTrashY);

				set_speed_hor = (int16_t)PID_hor_cam.output;

				if(abs(PID_hor_cam.error) < PID_hor_cam.tolerance)
				{
					set_speed_hor = 0;
				}
		        if(total_hor_enc < 200 && PID_hor_cam.output <= 0)
		        {
		        	set_speed_hor = 0;
		        }
		        if(total_hor_enc > 1400 && PID_hor_cam.output >= 0)
		        {
		        	set_speed_hor = 0;
		        }
				break;

			case 2: //--- box mode

				PID_Update(&PID_rot_box, set_position_rot, (udp_rx.cameraX - udp_rx.closestBoxX));

				set_speed_rot = (int16_t)PID_rot_box.output;

				if(abs(PID_rot_box.error) < PID_rot_box.tolerance)
				{
					set_speed_rot = 0;
				}
		        if(total_rot_enc < -300 && PID_rot_box.output <= 0)
		        {
		        	set_speed_rot = 0;
		        }
		        if(total_rot_enc > 300 && PID_rot_box.output >= 0)
		        {
		        	set_speed_rot = 0;
		        }

				PID_Update(&PID_hor_enc, set_position_hor, total_hor_enc);

				set_speed_hor = (int16_t)PID_hor_enc.output;

				if(abs(PID_hor_enc.error) < PID_hor_enc.tolerance)
				{
					set_speed_hor = 0;
				}
		        if(total_hor_enc < 10 && PID_hor_enc.output <= 0)
		        {
		        	set_speed_hor = 0;
		        }
		        if(total_hor_enc > MAX_HORIZONTAL_PULSE && PID_hor_enc.output >= 0)
		        {
		        	set_speed_hor = 0;
		        }
				break;
        }

//		if(arm_scanning_mode)
//		{
//			PID_Update(&PID_rot_cam, set_position_rot, udp_rx.closestTrashX);
//
//			set_speed_rot = (int16_t)PID_rot_cam.output;
//
//			if(abs(PID_rot_cam.error) < PID_rot_cam.tolerance)
//			{
//				set_speed_rot = 0;
//			}
//	        if(total_rot_enc < -300 && PID_rot_cam.output <= 0)
//	        {
//	        	set_speed_rot = 0;
//	        }
//	        if(total_rot_enc > 300 && PID_rot_cam.output >= 0)
//	        {
//	        	set_speed_rot = 0;
//	        }
//
//
//			PID_Update(&PID_hor_cam, set_position_hor, udp_rx.closestTrashY);
//
//			set_speed_hor = (int16_t)PID_hor_cam.output;
//
//			if(abs(PID_hor_cam.error) < PID_hor_cam.tolerance)
//			{
//				set_speed_hor = 0;
//			}
//	        if(total_hor_enc < 200 && PID_hor_cam.output <= 0)
//	        {
//	        	set_speed_hor = 0;
//	        }
//	        if(total_hor_enc > 1400 && PID_hor_cam.output >= 0)
//	        {
//	        	set_speed_hor = 0;
//	        }
//		}
//		else
//		{
//			PID_Update(&PID_rot_enc, set_position_rot, total_rot_enc);
//
//			set_speed_rot = (int16_t)PID_rot_enc.output;
//
//			if(abs(PID_rot_enc.error) < PID_rot_enc.tolerance)
//			{
//				set_speed_rot = 0;
//			}
//	        if(total_rot_enc < -300 && PID_rot_enc.output <= 0)
//	        {
//	        	set_speed_rot = 0;
//	        }
//	        if(total_rot_enc > 300 && PID_rot_enc.output >= 0)
//	        {
//	        	set_speed_rot = 0;
//	        }
//
//
//			PID_Update(&PID_hor_enc, set_position_hor, total_hor_enc);
//
//			set_speed_hor = (int16_t)PID_hor_enc.output;
//
//			if(abs(PID_hor_enc.error) < PID_hor_enc.tolerance)
//			{
//				set_speed_hor = 0;
//			}
//	        if(total_hor_enc < 10 && PID_hor_enc.output <= 0)
//	        {
//	        	set_speed_hor = 0;
//	        }
//	        if(total_hor_enc > MAX_HORIZONTAL_PULSE && PID_hor_enc.output >= 0)
//	        {
//	        	set_speed_hor = 0;
//	        }
//		}
//
//
//		if(arm_box_mode)
//		{
//			PID_Update(&PID_rot_box, set_position_rot, (udp_rx.cameraX - udp_rx.closestBoxX));
//
//			set_speed_rot = (int16_t)PID_rot_box.output;
//
//			if(abs(PID_rot_box.error) < PID_rot_box.tolerance)
//			{
//				set_speed_rot = 0;
//			}
//	        if(total_rot_enc < -300 && PID_rot_box.output <= 0)
//	        {
//	        	set_speed_rot = 0;
//	        }
//	        if(total_rot_enc > 300 && PID_rot_box.output >= 0)
//	        {
//	        	set_speed_rot = 0;
//	        }
//
//
//			PID_Update(&PID_hor_enc, set_position_hor, total_hor_enc);
//
//			set_speed_hor = (int16_t)PID_hor_enc.output;
//
//			if(abs(PID_hor_enc.error) < PID_hor_enc.tolerance)
//			{
//				set_speed_hor = 0;
//			}
//	        if(total_hor_enc < 10 && PID_hor_enc.output <= 0)
//	        {
//	        	set_speed_hor = 0;
//	        }
//	        if(total_hor_enc > MAX_HORIZONTAL_PULSE && PID_hor_enc.output >= 0)
//	        {
//	        	set_speed_hor = 0;
//	        }
//		}

		PID_Update(&PID_ver_enc, set_position_ver, total_ver_enc);

		set_speed_ver = (int16_t)PID_ver_enc.output;

		if(abs(PID_ver_enc.error) < PID_ver_enc.tolerance)
		{
			set_speed_ver = 0;
		}

		timer = 0;
	}
	else
	{
		timer++;
	}
}

void PID_Base_Position()
{
	static uint16_t timer = 0;

	if(timer >= 9)
	{

//		PID_Update(&PID_x_enc, base_pos_x, global_x);
//		vx = (int16_t)PID_x_enc.output;

//		PID_Update(&PID_y_enc, base_pos_y, global_y);
//		vy = (int16_t)PID_y_enc.output;

		//--- auto
//		PID_Update(&PID_x_ultra, set_x, ultra_avg_distance);
//		vx = -(int16_t)PID_x_ultra.output;
//		PID_Update_Rotate(&PID_w_mpu, set_w, yaw_degree);
//		vw = (int16_t)PID_w_mpu.output;

//		PID_Update(&PID_y_cam, box_setpoint, box_feedback);
//		vy = (int16_t)PID_y_cam.output;

		timer = 0;
	}
	else
	{
		timer++;
	}
}

void PID_Base_Speed()
{
	static uint16_t timer = 0;

	if(timer >= 9)
	{
		int16_t va = Kinematics_Triangle(MOTOR_A, vx, vy, vw);
		int16_t vb = Kinematics_Triangle(MOTOR_B, vx, vy, vw);
		int16_t vc = Kinematics_Triangle(MOTOR_C, vx, vy, vw);

		Encoder_GetCount(&encA);
		Encoder_GetCount(&encB);
		Encoder_GetCount(&encC);

		/* Save UDP */
		udp_tx.enc_a = encA.count;
		udp_tx.enc_b = encB.count;
		udp_tx.enc_c = encC.count;

		Encoder_ResetCount(&encA);
		Encoder_ResetCount(&encB);
		Encoder_ResetCount(&encC);

		PID_Update(&PID_A, va, (float)encA.count);
		PID_Update(&PID_B, vb, (float)encB.count);
		PID_Update(&PID_C, vc, (float)encC.count);

		Motor_Run(&motorA, (int16_t)PID_A.output);
		Motor_Run(&motorB, (int16_t)PID_B.output);
		Motor_Run(&motorC, (int16_t)PID_C.output);

		timer = 0;
	}
	else
	{
		timer++;
	}
}

void LED_Blink()
{
	static uint16_t timer = 0;
	static uint8_t state = 0;

	if(timer >= 99)
	{
		state = !(state);
		HAL_GPIO_WritePin(GPIOE, GPIO_PIN_1, state);
		timer = 0;
	}
	else
	{
		timer++;
	}
}

void Arm_Transmit_UART()
{
	//--- VGT ARM
	memcpy(UART1_TX_BUFFER +  3, &robot_start, 1);
	memcpy(UART1_TX_BUFFER +  4, &rst_state, 1);
	memcpy(UART1_TX_BUFFER +  5, &relay_state, 1);
	memcpy(UART1_TX_BUFFER +  6, &set_speed_rot, 2);
	memcpy(UART1_TX_BUFFER +  8, &set_speed_hor, 2);
	memcpy(UART1_TX_BUFFER + 10, &set_speed_ver, 2);

	HAL_UART_Transmit_DMA(&huart1, (uint8_t*)UART1_TX_BUFFER, sizeof(UART1_TX_BUFFER));
}

void Read_Buttons()
{
	udp_tx.start_button = HAL_GPIO_ReadPin(GPIOD, GPIO_PIN_0);
	udp_tx.reset_button = HAL_GPIO_ReadPin(GPIOD, GPIO_PIN_1);
	udp_tx.buttons[0] = HAL_GPIO_ReadPin(GPIOD, GPIO_PIN_4);
	udp_tx.buttons[1] = HAL_GPIO_ReadPin(GPIOD, GPIO_PIN_7);
	udp_tx.buttons[2] = HAL_GPIO_ReadPin(GPIOD, GPIO_PIN_3);

	if(udp_tx.start_button == 0 && arm_ready)
	{
		robot_start = 1;
		rst_state = 0;
	}

	if(udp_tx.reset_button == 0)
	{
		robot_start = 0;
		rst_state = 1;
	}
}

void Reset_Robot()
{
	if(rst_state)
	{
		if(rst_cnt >= 500)
		{
			NVIC_SystemReset();
		}
		else
		{
			rst_cnt++;
		}
	}
}

void Robot_Loop()
{
	//--- ROBOT
	if(!robot_start)
	{
		rgb_state = 0;
	}
	else
	{
		rgb_state = 1;
	}

	LED_Blink();
	Read_Buttons();
	Reset_Robot();
	//--- ARM
	Main_Arm_Algorithm();
	PID_Arm_Position();
	Arm_Transmit_UART();
	//--- BASE
	Main_Base_Algorithm();
	Yaw_Process();
	Odometry_Process();
	PID_Base_Position();
	PID_Base_Speed();

	RGB_LED_Process(rgb_state);

	udp_cnt++;
}

void HAL_TIM_PeriodElapsedCallback(TIM_HandleTypeDef *htim)
{
	if(htim == &htim6)
	{
		Robot_Loop();
	}
}

void HAL_UART_RxCpltCallback(UART_HandleTypeDef *huart)
{
	if(huart == &huart1) //--- VGT ARM
	{
		if(UART1_RX_BUFFER[0] == 'A' && UART1_RX_BUFFER[1] == 'B' && UART1_RX_BUFFER[2] == 'C')
		{
			/* Save UDP */
			memcpy(&udp_tx.buttons[3], UART1_RX_BUFFER + 3, 1);
			memcpy(&udp_tx.buttons[4], UART1_RX_BUFFER + 4, 1);
			memcpy(&udp_tx.lim2, UART1_RX_BUFFER + 5, 1);
			memcpy(&udp_tx.lim3, UART1_RX_BUFFER + 6, 1);
			memcpy(&udp_tx.enc_1, UART1_RX_BUFFER + 7, 2);
			memcpy(&udp_tx.enc_2, UART1_RX_BUFFER + 9, 2);
			memcpy(&udp_tx.enc_3, UART1_RX_BUFFER + 11, 2);
			memcpy(&arm_ready, UART1_RX_BUFFER + 13, 1);
		}
		HAL_UART_Receive_DMA(&huart1, (uint8_t*)UART1_RX_BUFFER, sizeof(UART1_RX_BUFFER));
	}

//	if(huart == &huart2)
//	{
//		HAL_UART_Receive_DMA(&huart2, (uint8_t*)UART2_RX_BUFFER, sizeof(UART2_RX_BUFFER));
//	}

	if(huart == &huart3)
	{
		if(UART3_RX_BUFFER[0] == 'A' && UART3_RX_BUFFER[1] == 'B' && UART3_RX_BUFFER[2] == 'C')
		{
			/* Save UDP */
			memcpy(&udp_tx.rX, UART3_RX_BUFFER + 3, 1);
			memcpy(&udp_tx.rY, UART3_RX_BUFFER + 4, 1);
			memcpy(&udp_tx.lX, UART3_RX_BUFFER + 5, 1);
			memcpy(&udp_tx.lY, UART3_RX_BUFFER + 6, 1);

			memcpy(&udp_tx.r2, UART3_RX_BUFFER + 7, 1);
			memcpy(&udp_tx.l2, UART3_RX_BUFFER + 8, 1);
			memcpy(&udp_tx.r1, UART3_RX_BUFFER + 9, 1);
			memcpy(&udp_tx.l1, UART3_RX_BUFFER + 10, 1);
			memcpy(&udp_tx.r3, UART3_RX_BUFFER + 11, 1);
			memcpy(&udp_tx.l3, UART3_RX_BUFFER + 12, 1);

			memcpy(&udp_tx.crs, UART3_RX_BUFFER + 13, 1);
			memcpy(&udp_tx.sqr, UART3_RX_BUFFER + 14, 1);
			memcpy(&udp_tx.tri, UART3_RX_BUFFER + 15, 1);
			memcpy(&udp_tx.cir, UART3_RX_BUFFER + 16, 1);
			memcpy(&udp_tx.up, UART3_RX_BUFFER + 17, 1);
			memcpy(&udp_tx.down, UART3_RX_BUFFER + 18, 1);
			memcpy(&udp_tx.right, UART3_RX_BUFFER + 19, 1);
			memcpy(&udp_tx.left, UART3_RX_BUFFER + 20, 1);
			memcpy(&udp_tx.share, UART3_RX_BUFFER + 21, 1);
			memcpy(&udp_tx.option, UART3_RX_BUFFER + 22, 1);

			memcpy(&udp_tx.ps, UART3_RX_BUFFER + 23, 1);
			memcpy(&udp_tx.touchpad, UART3_RX_BUFFER + 24, 1);
			memcpy(&udp_tx.battery, UART3_RX_BUFFER + 25, 1);

			memcpy(&udp_tx.gX, UART3_RX_BUFFER + 26, 2);
			memcpy(&udp_tx.gY, UART3_RX_BUFFER + 28, 2);
			memcpy(&udp_tx.gZ, UART3_RX_BUFFER + 30, 2);
			memcpy(&udp_tx.aX, UART3_RX_BUFFER + 32, 2);
			memcpy(&udp_tx.aY, UART3_RX_BUFFER + 34, 2);
			memcpy(&udp_tx.aZ, UART3_RX_BUFFER + 36, 2);
		}
		HAL_UART_Receive_DMA(&huart3, (uint8_t*)UART3_RX_BUFFER, sizeof(UART3_RX_BUFFER));
	}

	if(huart == &huart4)
	{
		if(UART4_RX_BUFFER[0] == 'A' && UART4_RX_BUFFER[1] == 'B' && UART4_RX_BUFFER[2] == 'C')
		{
			/* Save UDP */
			memcpy(&udp_tx.ultrasonic[0], UART4_RX_BUFFER + 3, 2);
			memcpy(&udp_tx.ultrasonic[1], UART4_RX_BUFFER + 5, 2);
			memcpy(&udp_tx.ultrasonic[2], UART4_RX_BUFFER + 7, 2);
			memcpy(&udp_tx.ultrasonic[3], UART4_RX_BUFFER + 9, 2);
		}
		HAL_UART_Receive_DMA(&huart4, (uint8_t*)UART4_RX_BUFFER, sizeof(UART4_RX_BUFFER));
	}

	if(huart == &huart5)
	{
		if(UART5_RX_BUFFER[0] == 'A' && UART5_RX_BUFFER[1] == 'B' && UART5_RX_BUFFER[2] == 'C')
		{
			/* Save UDP */
			memcpy(&udp_tx.enc_x, UART5_RX_BUFFER + 3, 2);
			memcpy(&udp_tx.enc_y, UART5_RX_BUFFER + 5, 2);
		}
		HAL_UART_Receive_DMA(&huart5, (uint8_t*)UART5_RX_BUFFER, sizeof(UART5_RX_BUFFER));
	}

	if(huart == &huart6) //--- NANO YAW
	{
		if(UART6_RX_BUFFER[0] == 'A' && UART6_RX_BUFFER[1] == 'B' && UART6_RX_BUFFER[2] == 'C')
		{
			/* Save UDP */
			memcpy(&udp_tx.yaw_degree, UART6_RX_BUFFER + 3, 4);
		}
		HAL_UART_Receive_DMA(&huart6, (uint8_t*)UART6_RX_BUFFER, sizeof(UART6_RX_BUFFER));
	}

}

void HAL_UART_RxHalfCpltCallback(UART_HandleTypeDef *huart)
{
	if(huart == &huart1) //--- VGT ARM
	{
		if(!(UART1_RX_BUFFER[0] == 'A' && UART1_RX_BUFFER[1] == 'B' && UART1_RX_BUFFER[2] == 'C'))
		{
			HAL_UART_AbortReceive(&huart1);
			HAL_UART_Receive_DMA(&huart1, (uint8_t*)UART1_RX_BUFFER, sizeof(UART1_RX_BUFFER));
		}
	}

	if(huart == &huart2)
	{
		if(!(UART2_RX_BUFFER[0] == 'A' && UART2_RX_BUFFER[1] == 'B' && UART2_RX_BUFFER[2] == 'C'))
		{
			HAL_UART_AbortReceive(&huart2);
			HAL_UART_Receive_DMA(&huart2, (uint8_t*)UART2_RX_BUFFER, sizeof(UART2_RX_BUFFER));
		}
	}

	if(huart == &huart3)
	{
		if(!(UART3_RX_BUFFER[0] == 'A' && UART3_RX_BUFFER[1] == 'B' && UART3_RX_BUFFER[2] == 'C'))
		{
			HAL_UART_AbortReceive(&huart3);
			HAL_UART_Receive_DMA(&huart3, (uint8_t*)UART3_RX_BUFFER, sizeof(UART3_RX_BUFFER));
		}
	}

	if(huart == &huart4)
	{
		if(!(UART4_RX_BUFFER[0] == 'A' && UART4_RX_BUFFER[1] == 'B' && UART4_RX_BUFFER[2] == 'C'))
		{
			HAL_UART_AbortReceive(&huart4);
			HAL_UART_Receive_DMA(&huart4, (uint8_t*)UART4_RX_BUFFER, sizeof(UART4_RX_BUFFER));
		}
	}

	if(huart == &huart5)
	{
		if(!(UART5_RX_BUFFER[0] == 'A' && UART5_RX_BUFFER[1] == 'B' && UART5_RX_BUFFER[2] == 'C'))
		{
			HAL_UART_AbortReceive(&huart5);
			HAL_UART_Receive_DMA(&huart5, (uint8_t*)UART5_RX_BUFFER, sizeof(UART5_RX_BUFFER));
		}
	}

	if(huart == &huart6) //--- NANO YAW
	{
		if(!(UART6_RX_BUFFER[0] == 'A' && UART6_RX_BUFFER[1] == 'B' && UART6_RX_BUFFER[2] == 'C'))
		{
			HAL_UART_AbortReceive(&huart6);
			HAL_UART_Receive_DMA(&huart6, (uint8_t*)UART6_RX_BUFFER, sizeof(UART6_RX_BUFFER));
		}
	}

}

void HAL_UART_ErrorCallback(UART_HandleTypeDef *huart)
{
	if(huart == &huart1) //--- VGT ARM
	{
		HAL_UART_AbortReceive(&huart1);
		HAL_UART_Receive_DMA(&huart1, (uint8_t*)UART1_RX_BUFFER, sizeof(UART1_RX_BUFFER));
	}

	if(huart == &huart2)
	{
		HAL_UART_AbortReceive(&huart2);
		HAL_UART_Receive_DMA(&huart2, (uint8_t*)UART2_RX_BUFFER, sizeof(UART2_RX_BUFFER));
	}

	if(huart == &huart3)
	{
		HAL_UART_AbortReceive(&huart3);
		HAL_UART_Receive_DMA(&huart3, (uint8_t*)UART3_RX_BUFFER, sizeof(UART3_RX_BUFFER));
	}

	if(huart == &huart4)
	{
		HAL_UART_AbortReceive(&huart4);
		HAL_UART_Receive_DMA(&huart4, (uint8_t*)UART4_RX_BUFFER, sizeof(UART4_RX_BUFFER));
	}

	if(huart == &huart5)
	{
		HAL_UART_AbortReceive(&huart5);
		HAL_UART_Receive_DMA(&huart5, (uint8_t*)UART5_RX_BUFFER, sizeof(UART5_RX_BUFFER));
	}

	if(huart == &huart6) //--- NANO YAW
	{
		HAL_UART_AbortReceive(&huart6);
		HAL_UART_Receive_DMA(&huart6, (uint8_t*)UART6_RX_BUFFER, sizeof(UART6_RX_BUFFER));

	}

}

/* USER CODE END 0 */

int main(void)
{

  /* MCU Configuration--------------------------------------------------------*/

  /* Reset of all peripherals, Initializes the Flash interface and the Systick. */
  HAL_Init();

  /* Configure the system clock */
  SystemClock_Config();

  /* Initialize all configured peripherals */
  MX_GPIO_Init();
  MX_DMA_Init();
  MX_TIM1_Init();
  MX_TIM2_Init();
  MX_TIM3_Init();
  MX_TIM4_Init();
  MX_TIM5_Init();
  MX_TIM8_Init();
  MX_TIM9_Init();
  MX_TIM10_Init();
  MX_TIM11_Init();
  MX_TIM12_Init();
  MX_TIM13_Init();
  MX_UART4_Init();
  MX_UART5_Init();
  MX_TIM6_Init();
  MX_USART2_UART_Init();
  MX_USART1_UART_Init();
  MX_USART3_UART_Init();
  MX_USART6_UART_Init();
  MX_LWIP_Init();
  /* USER CODE BEGIN 2 */
  Robot_Init();
  /* USER CODE END 2 */

  /* Infinite loop */
  /* USER CODE BEGIN WHILE */
  while (1)
  {
	  if(udp_cnt >= 1)
	  {
		  MX_LWIP_Process();
//		  udpClient_send();
		  udp_cnt = 0;
	  }

    /* USER CODE END WHILE */

  }
}

void SystemClock_Config(void)
{
  RCC_OscInitTypeDef RCC_OscInitStruct = {0};
  RCC_ClkInitTypeDef RCC_ClkInitStruct = {0};

  /** Configure the main internal regulator output voltage
  */
  __HAL_RCC_PWR_CLK_ENABLE();
  __HAL_PWR_VOLTAGESCALING_CONFIG(PWR_REGULATOR_VOLTAGE_SCALE1);

  /** Initializes the RCC Oscillators according to the specified parameters
  * in the RCC_OscInitTypeDef structure.
  */
  RCC_OscInitStruct.OscillatorType = RCC_OSCILLATORTYPE_HSE;
  RCC_OscInitStruct.HSEState = RCC_HSE_ON;
  RCC_OscInitStruct.PLL.PLLState = RCC_PLL_ON;
  RCC_OscInitStruct.PLL.PLLSource = RCC_PLLSOURCE_HSE;
  RCC_OscInitStruct.PLL.PLLM = 4;
  RCC_OscInitStruct.PLL.PLLN = 168;
  RCC_OscInitStruct.PLL.PLLP = RCC_PLLP_DIV2;
  RCC_OscInitStruct.PLL.PLLQ = 4;
  if (HAL_RCC_OscConfig(&RCC_OscInitStruct) != HAL_OK)
  {
    Error_Handler();
  }

  /** Initializes the CPU, AHB and APB buses clocks
  */
  RCC_ClkInitStruct.ClockType = RCC_CLOCKTYPE_HCLK|RCC_CLOCKTYPE_SYSCLK
                              |RCC_CLOCKTYPE_PCLK1|RCC_CLOCKTYPE_PCLK2;
  RCC_ClkInitStruct.SYSCLKSource = RCC_SYSCLKSOURCE_PLLCLK;
  RCC_ClkInitStruct.AHBCLKDivider = RCC_SYSCLK_DIV1;
  RCC_ClkInitStruct.APB1CLKDivider = RCC_HCLK_DIV4;
  RCC_ClkInitStruct.APB2CLKDivider = RCC_HCLK_DIV2;

  if (HAL_RCC_ClockConfig(&RCC_ClkInitStruct, FLASH_LATENCY_5) != HAL_OK)
  {
    Error_Handler();
  }
}

void Error_Handler(void)
{
  __disable_irq();
  while (1)
  {
  }
}
